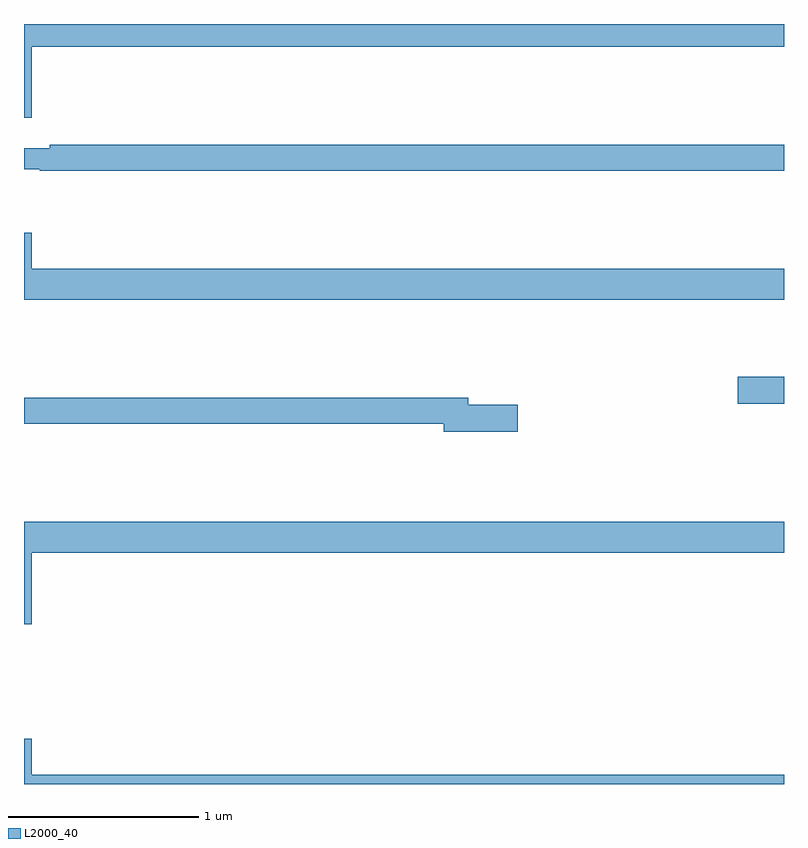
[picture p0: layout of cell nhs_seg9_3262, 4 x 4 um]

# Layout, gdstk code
import gdstk
lib = gdstk.Library(unit=1e-6, precision=1e-09)
def R(c, l, rs):  # rectangles x0, y0, x1, y1
    for r in rs: c.add(gdstk.rectangle(r[:2], r[2:], *l))
def P(c, l, *ps):  # polygons
    for p in ps: c.add(gdstk.Polygon(p, *l))
L2000_40 = (2000, 40)

nhs_seg9_3262 = lib.new_cell('nhs_seg9_3262')
R(nhs_seg9_3262, L2000_40, [(300.756,1234.502,301,1234.644)])
P(nhs_seg9_3262, L2000_40, [(297.04,1236.38),(301,1236.38),(301,1236.5),(297,1236.5),(297,1236.006),(297.04,1236.006)],
  [(301,1235.864),(297.136,1235.864),(297.136,1235.845),(297,1235.845),(297,1235.736),(297.082,1235.736),(297.082,1235.728),(301,1235.728)],
  [(301,1235.212),(297.04,1235.212),(297.04,1235.401),(297,1235.401),(297,1235.048),(301,1235.048)],
  [(299.599,1234.496),(299.338,1234.496),(299.338,1234.532),(297,1234.532),(297,1234.396),(299.21,1234.396),(299.21,1234.354),(299.599,1234.354)],
  [(297.04,1233.716),(301,1233.716),(301,1233.88),(297,1233.88),(297,1233.342),(297.04,1233.342)],
  [(301,1232.548),(297.04,1232.548),(297.04,1232.737),(297,1232.737),(297,1232.5),(301,1232.5)])

lib.write_gds('nhs_seg9_3262.gds')
